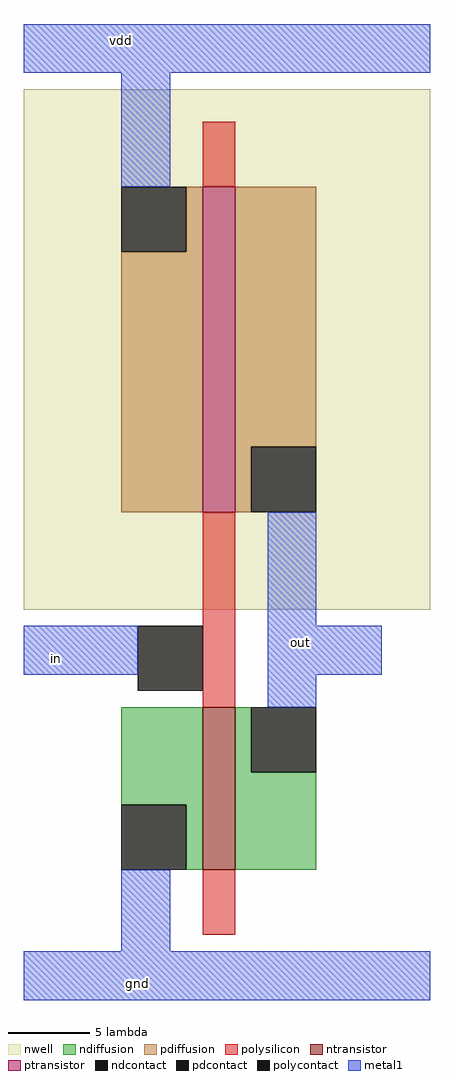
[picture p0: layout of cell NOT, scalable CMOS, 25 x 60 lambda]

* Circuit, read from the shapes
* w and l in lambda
.subckt NOT gnd in out vdd
M1 out in gnd VSUBS nfet w=10 l=2
M2 out in vdd n1 pfet w=20 l=2
.ends

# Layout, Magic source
magic
tech scmos
<< nwell >>
rect 0 -6 25 26
<< ntransistor >>
rect 11 -22 13 -12
<< ptransistor >>
rect 11 0 13 20
<< ndiffusion >>
rect 6 -18 11 -12
rect 10 -22 11 -18
rect 13 -16 14 -12
rect 13 -22 18 -16
<< pdiffusion >>
rect 10 16 11 20
rect 6 0 11 16
rect 13 4 18 20
rect 13 0 14 4
<< ndcontact >>
rect 6 -22 10 -18
rect 14 -16 18 -12
<< pdcontact >>
rect 6 16 10 20
rect 14 0 18 4
<< polysilicon >>
rect 11 20 13 24
rect 11 -12 13 0
rect 11 -26 13 -22
<< polycontact >>
rect 7 -11 11 -7
<< metal1 >>
rect 0 27 25 30
rect 6 20 9 27
rect 15 -7 18 0
rect 0 -10 7 -7
rect 15 -10 22 -7
rect 15 -12 18 -10
rect 6 -27 9 -22
rect 0 -30 25 -27
<< labels >>
rlabel metal1 6 29 6 29 5 vdd
rlabel metal1 7 -29 7 -29 1 gnd
rlabel metal1 17 -8 17 -8 1 out
rlabel metal1 2 -9 2 -9 3 in
<< end >>
